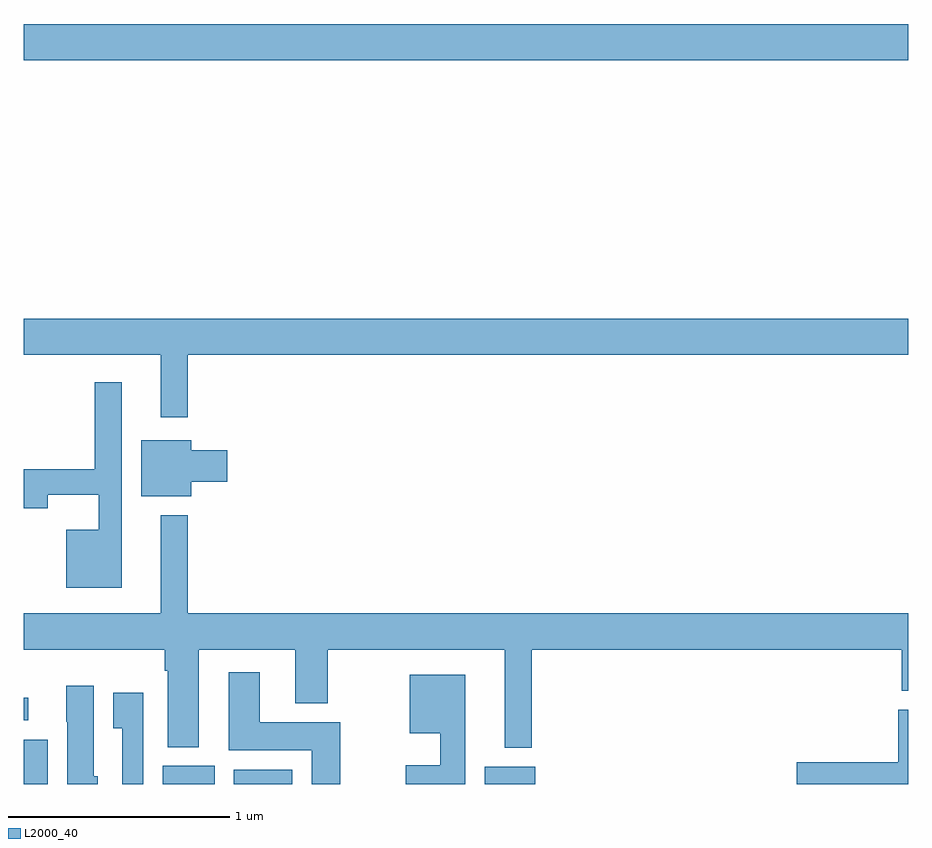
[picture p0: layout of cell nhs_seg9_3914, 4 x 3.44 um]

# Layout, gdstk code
import gdstk
lib = gdstk.Library(unit=1e-6, precision=1e-09)
def R(c, l, rs):  # rectangles x0, y0, x1, y1
    for r in rs: c.add(gdstk.rectangle(r[:2], r[2:], *l))
def P(c, l, *ps):  # polygons
    for p in ps: c.add(gdstk.Polygon(p, *l))
L2000_40 = (2000, 40)

nhs_seg9_3914 = lib.new_cell('nhs_seg9_3914')
R(nhs_seg9_3914, L2000_40, [(335,1174.5,335.11,1174.701), (335.63,1174.5,335.863,1174.582), (335.951,1174.5,336.214,1174.564), (337.085,1174.5,337.312,1174.579), (335,1174.788,335.02,1174.891), (335,1177.772,339,1177.936)])
P(nhs_seg9_3914, L2000_40, [(335.743,1176.44),(339,1176.44),(339,1176.604),(335,1176.604),(335,1176.44),(335.621,1176.44),(335.621,1176.159),(335.743,1176.159)],
  [(335.443,1176.316),(335.322,1176.316),(335.322,1175.924),(335,1175.924),(335,1175.746),(335.11,1175.746),(335.11,1175.807),(335.339,1175.807),(335.339,1175.65),(335.192,1175.65),(335.192,1175.387),(335.443,1175.387)],
  [(335.758,1175.867),(335.92,1175.867),(335.92,1176.009),(335.758,1176.009),(335.758,1176.055),(335.531,1176.055),(335.531,1175.801),(335.758,1175.801)],
  [(337.297,1175.108),(338.969,1175.108),(338.969,1174.921),(339,1174.921),(339,1175.272),(335.743,1175.272),(335.743,1175.716),(335.621,1175.716),(335.621,1175.272),(335,1175.272),(335,1175.108),(335.639,1175.108),(335.639,1175.012),(335.651,1175.012),(335.651,1174.667),(335.791,1174.667),(335.791,1175.108),(336.227,1175.108),(336.227,1174.865),(336.375,1174.865),(336.375,1175.108),(337.175,1175.108),(337.175,1174.664),(337.297,1174.664)],
  [(336.432,1174.78),(336.067,1174.78),(336.067,1175.005),(335.927,1175.005),(335.927,1174.652),(336.302,1174.652),(336.302,1174.5),(336.432,1174.5)],
  [(336.997,1174.993),(336.746,1174.993),(336.746,1174.73),(336.883,1174.73),(336.883,1174.585),(336.728,1174.585),(336.728,1174.5),(336.997,1174.5)],
  [(335.335,1174.536),(335.317,1174.536),(335.317,1174.945),(335.192,1174.945),(335.192,1174.782),(335.198,1174.782),(335.198,1174.5),(335.335,1174.5)],
  [(335.541,1174.912),(335.405,1174.912),(335.405,1174.751),(335.445,1174.751),(335.445,1174.5),(335.541,1174.5)],
  [(339,1174.836),(338.954,1174.836),(338.954,1174.598),(338.496,1174.598),(338.496,1174.5),(339,1174.5)])

lib.write_gds('nhs_seg9_3914.gds')
